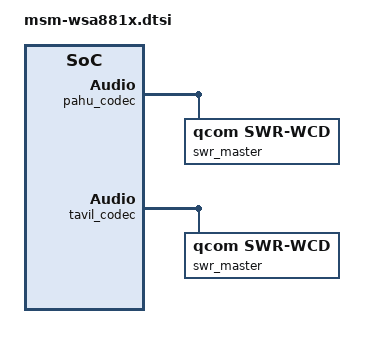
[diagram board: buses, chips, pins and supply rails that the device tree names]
/* Copyright (c) 2018, The Linux Foundation. All rights reserved.
 *
 * This program is free software; you can redistribute it and/or modify
 * it under the terms of the GNU General Public License version 2 and
 * only version 2 as published by the Free Software Foundation.
 *
 * This program is distributed in the hope that it will be useful,
 * but WITHOUT ANY WARRANTY; without even the implied warranty of
 * MERCHANTABILITY or FITNESS FOR A PARTICULAR PURPOSE.  See the
 * GNU General Public License for more details.
 */

&slim_aud {
	pahu_codec {
		swr_master {
			compatible = "qcom,swr-wcd";
			#address-cells = <2>;
			#size-cells = <0>;

			wsa881x_0211: wsa881x@20170211 {
				status = "disabled";
			};

			wsa881x_0212: wsa881x@20170212 {
				status = "disabled";
			};

			wsa881x_0213: wsa881x@21170213 {
				status = "disabled";
			};

			wsa881x_0214: wsa881x@21170214 {
				status = "disabled";
			};
		};
	};

	tavil_codec {
		swr_master {
			compatible = "qcom,swr-wcd";
			#address-cells = <2>;
			#size-cells = <0>;

			wsa881x_70211: wsa881x@20170211 {
				status = "disabled";
			};

			wsa881x_70212: wsa881x@20170212 {
				status = "disabled";
			};

			wsa881x_70213: wsa881x@21170213 {
				status = "disabled";
			};

			wsa881x_70214: wsa881x@21170214 {
				status = "disabled";
			};
		};
	};
};
